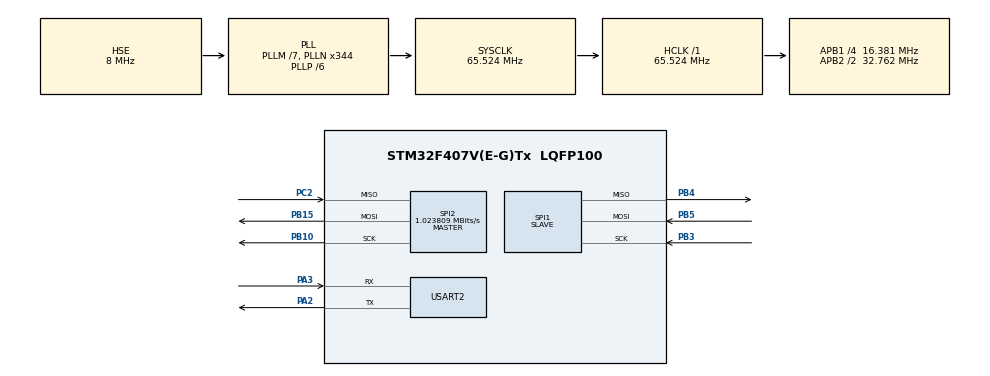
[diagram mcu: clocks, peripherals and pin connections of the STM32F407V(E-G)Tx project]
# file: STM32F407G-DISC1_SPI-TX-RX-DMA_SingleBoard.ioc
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Dma.Request0=SPI2_RX
Dma.Request1=SPI2_TX
Dma.SPI2_RX.0.Direction=DMA_PERIPH_TO_MEMORY
Dma.SPI2_RX.0.FIFOMode=DMA_FIFOMODE_DISABLE
Dma.SPI2_RX.0.Instance=DMA1_Stream3
Dma.SPI2_RX.0.MemDataAlignment=DMA_MDATAALIGN_BYTE
Dma.SPI2_RX.0.MemInc=DMA_MINC_ENABLE
Dma.SPI2_RX.0.Mode=DMA_NORMAL
Dma.SPI2_RX.0.PeriphDataAlignment=DMA_PDATAALIGN_BYTE
Dma.SPI2_RX.0.PeriphInc=DMA_PINC_DISABLE
Dma.SPI2_RX.0.Priority=DMA_PRIORITY_MEDIUM
Dma.SPI2_TX.1.Direction=DMA_MEMORY_TO_PERIPH
Dma.SPI2_TX.1.FIFOMode=DMA_FIFOMODE_DISABLE
Dma.SPI2_TX.1.Instance=DMA1_Stream4
Dma.SPI2_TX.1.MemDataAlignment=DMA_MDATAALIGN_BYTE
Dma.SPI2_TX.1.MemInc=DMA_MINC_ENABLE
Dma.SPI2_TX.1.Mode=DMA_NORMAL
Dma.SPI2_TX.1.PeriphDataAlignment=DMA_PDATAALIGN_BYTE
Dma.SPI2_TX.1.PeriphInc=DMA_PINC_DISABLE
Dma.SPI2_TX.1.Priority=DMA_PRIORITY_LOW
Mcu.Family=STM32F4
Mcu.Name=STM32F407V(E-G)Tx
Mcu.Package=LQFP100
NVIC.DMA1_Stream3_IRQn=true\:0\:0\:false\:false\:true\:false\:true
NVIC.DMA1_Stream4_IRQn=true\:0\:0\:false\:false\:true\:false\:true
NVIC.PriorityGroup=NVIC_PRIORITYGROUP_0
PA13.Mode=Serial_Wire
PA13.Signal=SYS_JTMS-SWDIO
PA14.Mode=Serial_Wire
PA14.Signal=SYS_JTCK-SWCLK
PA2.Mode=Asynchronous
PA2.Signal=USART2_TX
PA3.Mode=Asynchronous
PA3.Signal=USART2_RX
PB10.GPIO_Speed=GPIO_SPEED_FREQ_LOW
PB10.Mode=Full_Duplex_Master
PB10.Signal=SPI2_SCK
PB15.GPIO_Speed=GPIO_SPEED_FREQ_LOW
PB15.Mode=Full_Duplex_Master
PB15.Signal=SPI2_MOSI
PB3.Mode=Full_Duplex_Slave
PB3.Signal=SPI1_SCK
PB4.Mode=Full_Duplex_Slave
PB4.Signal=SPI1_MISO
PB5.Mode=Full_Duplex_Slave
PB5.Signal=SPI1_MOSI
PC2.GPIO_Speed=GPIO_SPEED_FREQ_LOW
PC2.Mode=Full_Duplex_Master
PC2.Signal=SPI2_MISO
PH0-OSC_IN.Mode=HSE-External-Oscillator
PH0-OSC_IN.Signal=RCC_OSC_IN
PH1-OSC_OUT.Mode=HSE-External-Oscillator
PH1-OSC_OUT.Signal=RCC_OSC_OUT
ProjectManager.HeapSize=0x200
ProjectManager.StackSize=0x400
ProjectManager.TargetToolchain=STM32CubeIDE
RCC.48MHZClocksFreq_Value=56163265.30612246
RCC.AHBFreq_Value=65523809.52380953
RCC.APB1CLKDivider=RCC_HCLK_DIV4
RCC.APB1Freq_Value=16380952.380952382
RCC.APB1TimFreq_Value=32761904.761904765
RCC.APB2CLKDivider=RCC_HCLK_DIV2
RCC.APB2Freq_Value=32761904.761904765
RCC.APB2TimFreq_Value=65523809.52380953
RCC.CortexFreq_Value=65523809.52380953
RCC.HCLKFreq_Value=65523809.52380953
RCC.HSE_VALUE=8000000
RCC.HSI_VALUE=16000000
RCC.LSE_VALUE=32768
RCC.PLLM=7
RCC.PLLN=344
RCC.PLLP=RCC_PLLP_DIV6
RCC.PLLQ=7
RCC.PLLSourceVirtual=RCC_PLLSOURCE_HSE
RCC.SYSCLKFreq_VALUE=65523809.52380953
RCC.SYSCLKSource=RCC_SYSCLKSOURCE_PLLCLK
RCC.VCOOutputFreq_Value=393142857.1428572
SPI1.Direction=SPI_DIRECTION_2LINES
SPI1.Mode=SPI_MODE_SLAVE
SPI1.VirtualType=VM_SLAVE
SPI2.BaudRatePrescaler=SPI_BAUDRATEPRESCALER_16
SPI2.CalculateBaudRate=1.023809 MBits/s
SPI2.Direction=SPI_DIRECTION_2LINES
SPI2.Mode=SPI_MODE_MASTER
SPI2.VirtualType=VM_MASTER
USART2.VirtualMode=VM_ASYNC
board=STM32F407G-DISC1

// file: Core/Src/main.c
/* USER CODE BEGIN Header */
/**
 ******************************************************************************
 * @file           : main.c
 * @brief          : Main program body
 ******************************************************************************
 * @attention
 *
 * <h2><center>&copy; Copyright (c) 2021 STMicroelectronics.
 * All rights reserved.</center></h2>
 *
 * This software component is licensed by ST under Ultimate Liberty license
 * SLA0044, the "License"; You may not use this file except in compliance with
 * the License. You may obtain a copy of the License at:
 *                             www.st.com/SLA0044
 *
 ******************************************************************************
 */
/* USER CODE END Header */
#include "main.h"

/* USER CODE BEGIN Includes */

#include <stdio.h>
#include "pdm_tones.h"

/* USER CODE END Includes */

SPI_HandleTypeDef hspi1;
SPI_HandleTypeDef hspi2;
DMA_HandleTypeDef hdma_spi2_rx;
DMA_HandleTypeDef hdma_spi2_tx;

UART_HandleTypeDef huart2;

/* USER CODE BEGIN PV */

uint8_t send_data[] = "SPI buffer test";
uint8_t size_data;
uint8_t receive_data[10];

/* USER CODE END PV */

void SystemClock_Config(void);
static void MX_GPIO_Init(void);
static void MX_USART2_UART_Init(void);
static void MX_DMA_Init(void);
static void MX_SPI2_Init(void);
static void MX_SPI1_Init(void);
/* USER CODE BEGIN PFP */

#define PUTCHAR_PROTOTYPE int __io_putchar(int ch)

/* USER CODE END PFP */

int main(void)
{

  /* MCU Configuration--------------------------------------------------------*/

  /* Reset of all peripherals, Initializes the Flash interface and the Systick. */
  HAL_Init();

  /* Configure the system clock */
  SystemClock_Config();

  /* Initialize all configured peripherals */
  MX_GPIO_Init();
  MX_USART2_UART_Init();
  MX_DMA_Init();
  MX_SPI2_Init();
  MX_SPI1_Init();
  /* USER CODE BEGIN 2 */

	printf("Starting >> STM32F407G-DISC1_SPI-TX-RX-DMA_SingleBoard \n");

	HAL_SPI_Receive_DMA(&hspi2, receive_data, 5);

	//	HAL_SPI_TransmitReceive_DMA(&hspi2, send_data, receive_data, 5);

	//	HAL_SPI_Transmit_DMA(&hspi2, receive_data, 5);

	HAL_Delay(100);

	printf("Ending >> STM32F407G-DISC1_SPI-TX-RX-DMA_SingleBoard \n");

  /* USER CODE END 2 */

  /* Infinite loop */
	while (1)
	{

	}
}

void SystemClock_Config(void)
{
  RCC_OscInitTypeDef RCC_OscInitStruct = {0};
  RCC_ClkInitTypeDef RCC_ClkInitStruct = {0};

  /** Configure the main internal regulator output voltage
  */
  __HAL_RCC_PWR_CLK_ENABLE();
  __HAL_PWR_VOLTAGESCALING_CONFIG(PWR_REGULATOR_VOLTAGE_SCALE1);
  /** Initializes the RCC Oscillators according to the specified parameters
  * in the RCC_OscInitTypeDef structure.
  */
  RCC_OscInitStruct.OscillatorType = RCC_OSCILLATORTYPE_HSE;
  RCC_OscInitStruct.HSEState = RCC_HSE_ON;
  RCC_OscInitStruct.PLL.PLLState = RCC_PLL_ON;
  RCC_OscInitStruct.PLL.PLLSource = RCC_PLLSOURCE_HSE;
  RCC_OscInitStruct.PLL.PLLM = 7;
  RCC_OscInitStruct.PLL.PLLN = 344;
  RCC_OscInitStruct.PLL.PLLP = RCC_PLLP_DIV6;
  RCC_OscInitStruct.PLL.PLLQ = 7;
  if (HAL_RCC_OscConfig(&RCC_OscInitStruct) != HAL_OK)
  {
    Error_Handler();
  }
  /** Initializes the CPU, AHB and APB buses clocks
  */
  RCC_ClkInitStruct.ClockType = RCC_CLOCKTYPE_HCLK|RCC_CLOCKTYPE_SYSCLK
                              |RCC_CLOCKTYPE_PCLK1|RCC_CLOCKTYPE_PCLK2;
  RCC_ClkInitStruct.SYSCLKSource = RCC_SYSCLKSOURCE_PLLCLK;
  RCC_ClkInitStruct.AHBCLKDivider = RCC_SYSCLK_DIV1;
  RCC_ClkInitStruct.APB1CLKDivider = RCC_HCLK_DIV4;
  RCC_ClkInitStruct.APB2CLKDivider = RCC_HCLK_DIV2;

  if (HAL_RCC_ClockConfig(&RCC_ClkInitStruct, FLASH_LATENCY_2) != HAL_OK)
  {
    Error_Handler();
  }
}

static void MX_SPI1_Init(void)
{

  /* SPI1 parameter configuration*/
  hspi1.Instance = SPI1;
  hspi1.Init.Mode = SPI_MODE_SLAVE;
  hspi1.Init.Direction = SPI_DIRECTION_2LINES;
  hspi1.Init.DataSize = SPI_DATASIZE_8BIT;
  hspi1.Init.CLKPolarity = SPI_POLARITY_LOW;
  hspi1.Init.CLKPhase = SPI_PHASE_1EDGE;
  hspi1.Init.NSS = SPI_NSS_SOFT;
  hspi1.Init.FirstBit = SPI_FIRSTBIT_MSB;
  hspi1.Init.TIMode = SPI_TIMODE_DISABLE;
  hspi1.Init.CRCCalculation = SPI_CRCCALCULATION_DISABLE;
  hspi1.Init.CRCPolynomial = 10;
  if (HAL_SPI_Init(&hspi1) != HAL_OK)
  {
    Error_Handler();
  }

}

static void MX_SPI2_Init(void)
{

  /* SPI2 parameter configuration*/
  hspi2.Instance = SPI2;
  hspi2.Init.Mode = SPI_MODE_MASTER;
  hspi2.Init.Direction = SPI_DIRECTION_2LINES;
  hspi2.Init.DataSize = SPI_DATASIZE_8BIT;
  hspi2.Init.CLKPolarity = SPI_POLARITY_LOW;
  hspi2.Init.CLKPhase = SPI_PHASE_1EDGE;
  hspi2.Init.NSS = SPI_NSS_SOFT;
  hspi2.Init.BaudRatePrescaler = SPI_BAUDRATEPRESCALER_16;
  hspi2.Init.FirstBit = SPI_FIRSTBIT_MSB;
  hspi2.Init.TIMode = SPI_TIMODE_DISABLE;
  hspi2.Init.CRCCalculation = SPI_CRCCALCULATION_DISABLE;
  hspi2.Init.CRCPolynomial = 10;
  if (HAL_SPI_Init(&hspi2) != HAL_OK)
  {
    Error_Handler();
  }

}

static void MX_USART2_UART_Init(void)
{

  huart2.Instance = USART2;
  huart2.Init.BaudRate = 115200;
  huart2.Init.WordLength = UART_WORDLENGTH_8B;
  huart2.Init.StopBits = UART_STOPBITS_1;
  huart2.Init.Parity = UART_PARITY_NONE;
  huart2.Init.Mode = UART_MODE_TX_RX;
  huart2.Init.HwFlowCtl = UART_HWCONTROL_NONE;
  huart2.Init.OverSampling = UART_OVERSAMPLING_16;
  if (HAL_UART_Init(&huart2) != HAL_OK)
  {
    Error_Handler();
  }

}

static void MX_DMA_Init(void)
{

  /* DMA controller clock enable */
  __HAL_RCC_DMA1_CLK_ENABLE();

  /* DMA interrupt init */
  /* DMA1_Stream3_IRQn interrupt configuration */
  HAL_NVIC_SetPriority(DMA1_Stream3_IRQn, 0, 0);
  HAL_NVIC_EnableIRQ(DMA1_Stream3_IRQn);
  /* DMA1_Stream4_IRQn interrupt configuration */
  HAL_NVIC_SetPriority(DMA1_Stream4_IRQn, 0, 0);
  HAL_NVIC_EnableIRQ(DMA1_Stream4_IRQn);

}

static void MX_GPIO_Init(void)
{

  /* GPIO Ports Clock Enable */
  __HAL_RCC_GPIOH_CLK_ENABLE();
  __HAL_RCC_GPIOC_CLK_ENABLE();
  __HAL_RCC_GPIOA_CLK_ENABLE();
  __HAL_RCC_GPIOB_CLK_ENABLE();

}

/* USER CODE BEGIN 4 */

PUTCHAR_PROTOTYPE
{
	/* Place your implementation of fputc here */
	/* e.g. write a character to the LPUART1 and Loop until the end of transmission */
	HAL_UART_Transmit(&huart2, (uint8_t *)&ch, 1, 0xFFFF);

	return ch;
}

void HAL_SPI_RxCpltCallback(SPI_HandleTypeDef *hspi)
{
	UNUSED(hspi);

	printf("HAL_SPI_RxCpltCallback \n");
}

void HAL_SPI_RxHalfCpltCallback(SPI_HandleTypeDef *hspi)
{
	UNUSED(hspi);

	printf("HAL_SPI_RxHalfCpltCallback \n");
}

void HAL_SPI_TxRxCpltCallback(SPI_HandleTypeDef *hspi)
{
	UNUSED(hspi);

	printf("HAL_SPI_TxRxCpltCallback \n");
}

void HAL_SPI_ErrorCallback(SPI_HandleTypeDef *hspi)
{
	UNUSED(hspi);

	printf("HAL_SPI_ErrorCallback : Error code %d \n", hspi->ErrorCode);

}

/* USER CODE END 4 */

void Error_Handler(void)
{
	__disable_irq();
	while (1)
	{
	}
}

/************************ (C) COPYRIGHT STMicroelectronics *****END OF FILE****/
